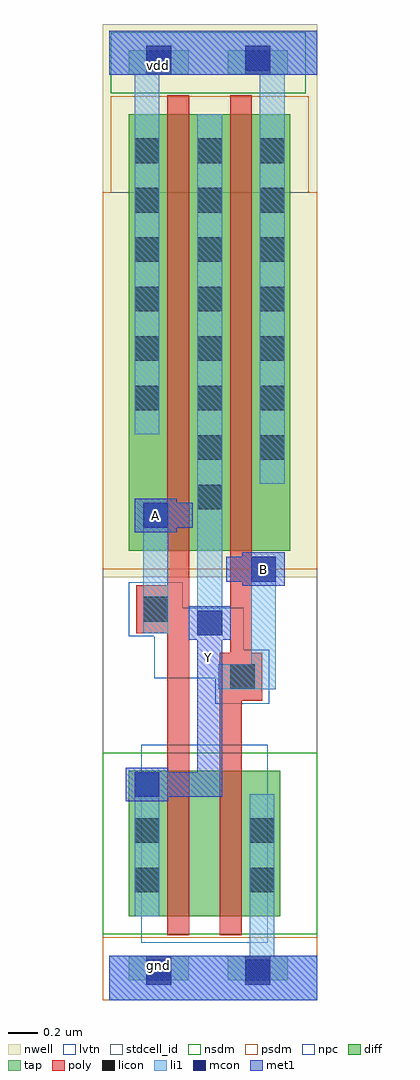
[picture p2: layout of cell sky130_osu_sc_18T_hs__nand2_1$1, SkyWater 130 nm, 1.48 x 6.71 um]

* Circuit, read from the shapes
.subckt sky130_osu_sc_18T_hs__nand2_1$1 A B Y gnd vdd
XM1 n1 A Y gnd sky130_fd_pr__nfet_01v8_lvt w=1 l=0.15
XM2 gnd B n1 gnd sky130_fd_pr__nfet_01v8_lvt w=1 l=0.15
XM3 Y A vdd vdd sky130_fd_pr__pfet_01v8 w=3 l=0.15
XM4 vdd B Y vdd sky130_fd_pr__pfet_01v8 w=3 l=0.15
.ends

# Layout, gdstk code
import gdstk
lib = gdstk.Library(unit=1e-6, precision=1e-09)
def R(c, l, rs):  # rectangles x0, y0, x1, y1
    for r in rs: c.add(gdstk.rectangle(r[:2], r[2:], *l))
nwell = (64, 20)
diff = (65, 20)
tap = (65, 44)
poly = (66, 20)
licon = (66, 44)
li1 = (67, 20)
mcon = (67, 44)
met1 = (68, 20)
stdcell_id = (81, 4)
nsdm = (93, 44)
psdm = (94, 20)
npc = (95, 20)
lvtn = (125, 44)

sky130_osu_sc_18t_hs__na = lib.new_cell('sky130_osu_sc_18T_hs__nand2_1$1')
R(sky130_osu_sc_18t_hs__na, nwell, [(-0.045,2.905,1.43,6.705), (-0.045,2.905,1.43,6.705)])
R(sky130_osu_sc_18t_hs__na, diff, [(0.135,0.575,1.175,1.575), (0.135,0.575,1.175,1.575), (0.135,3.085,1.245,6.085), (0.135,3.085,1.245,6.085)])
R(sky130_osu_sc_18t_hs__na, tap, [(0.135,0.135,0.545,0.305), (0.135,0.135,0.545,0.305), (0.815,0.135,1.225,0.305), (0.815,0.135,1.225,0.305), (0.135,6.355,0.545,6.525), (0.135,6.355,0.545,6.525), (0.815,6.355,1.225,6.525), (0.815,6.355,1.225,6.525)])
R(sky130_osu_sc_18t_hs__na, poly, [(0.4,0.445,0.55,2.52), (0.4,0.445,0.55,2.52), (0.76,0.445,0.91,2.055), (0.76,0.445,0.91,2.055), (0.76,2.055,1.05,2.385), (0.76,2.055,1.05,2.385), (0.83,2.385,0.98,6.215), (0.83,2.385,0.98,6.215), (0.185,2.52,0.55,2.85), (0.185,2.52,0.55,2.85), (0.4,2.85,0.55,6.215), (0.4,2.85,0.55,6.215)])
R(sky130_osu_sc_18t_hs__na, licon, [(0.255,0.135,0.425,0.305), (0.255,0.135,0.425,0.305), (0.935,0.135,1.105,0.305), (0.935,0.135,1.105,0.305), (0.175,0.74,0.345,0.91), (0.175,0.74,0.345,0.91), (0.965,0.74,1.135,0.91), (0.965,0.74,1.135,0.91), (0.175,1.08,0.345,1.25), (0.175,1.08,0.345,1.25), (0.965,1.08,1.135,1.25), (0.965,1.08,1.135,1.25), (0.83,2.135,1,2.305), (0.83,2.135,1,2.305), (0.235,2.6,0.405,2.77), (0.235,2.6,0.405,2.77), (0.605,3.37,0.775,3.54), (0.605,3.37,0.775,3.54), (0.605,3.71,0.775,3.88), (0.605,3.71,0.775,3.88), (1.035,3.71,1.205,3.88), (1.035,3.71,1.205,3.88), (0.175,4.05,0.345,4.22), (0.175,4.05,0.345,4.22), (0.605,4.05,0.775,4.22), (0.605,4.05,0.775,4.22), (1.035,4.05,1.205,4.22), (1.035,4.05,1.205,4.22), (0.175,4.39,0.345,4.56), (0.175,4.39,0.345,4.56), (0.605,4.39,0.775,4.56), (0.605,4.39,0.775,4.56), (1.035,4.39,1.205,4.56), (1.035,4.39,1.205,4.56), (0.175,4.73,0.345,4.9), (0.175,4.73,0.345,4.9), (0.605,4.73,0.775,4.9), (0.605,4.73,0.775,4.9), (1.035,4.73,1.205,4.9), (1.035,4.73,1.205,4.9), (0.175,5.07,0.345,5.24), (0.175,5.07,0.345,5.24), (0.605,5.07,0.775,5.24), (0.605,5.07,0.775,5.24), (1.035,5.07,1.205,5.24), (1.035,5.07,1.205,5.24), (0.175,5.41,0.345,5.58), (0.175,5.41,0.345,5.58), (0.605,5.41,0.775,5.58), (0.605,5.41,0.775,5.58), (1.035,5.41,1.205,5.58), (1.035,5.41,1.205,5.58), (0.175,5.75,0.345,5.92), (0.175,5.75,0.345,5.92), (0.605,5.75,0.775,5.92), (0.605,5.75,0.775,5.92), (1.035,5.75,1.205,5.92), (1.035,5.75,1.205,5.92), (0.255,6.355,0.425,6.525), (0.255,6.355,0.425,6.525), (0.935,6.355,1.105,6.525), (0.935,6.355,1.105,6.525)])
R(sky130_osu_sc_18t_hs__na, li1, [(0,0,1.43,0.305), (0,0,1.43,0.305), (0.965,0.305,1.135,1.415), (0.965,0.305,1.135,1.415), (0.175,0.575,0.345,1.565), (0.175,0.575,0.345,1.565), (0.75,2.135,1.145,2.305), (0.75,2.135,1.145,2.305), (0.975,2.305,1.145,3.045), (0.975,2.305,1.145,3.045), (0.605,2.505,0.775,6.085), (0.605,2.505,0.775,6.085), (0.235,2.52,0.405,3.415), (0.235,2.52,0.405,3.415), (1.035,3.545,1.205,6.355), (1.035,3.545,1.205,6.355), (0.175,3.885,0.345,6.355), (0.175,3.885,0.345,6.355), (0,6.355,1.43,6.66), (0,6.355,1.43,6.66)])
R(sky130_osu_sc_18t_hs__na, mcon, [(0.255,0.105,0.425,0.275), (0.255,0.105,0.425,0.275), (0.935,0.105,1.105,0.275), (0.935,0.105,1.105,0.275), (0.175,1.395,0.345,1.565), (0.175,1.395,0.345,1.565), (0.605,2.505,0.775,2.675), (0.605,2.505,0.775,2.675), (0.975,2.875,1.145,3.045), (0.975,2.875,1.145,3.045), (0.235,3.245,0.405,3.415), (0.235,3.245,0.405,3.415), (0.255,6.385,0.425,6.555), (0.255,6.385,0.425,6.555), (0.935,6.385,1.105,6.555), (0.935,6.385,1.105,6.555)])
R(sky130_osu_sc_18t_hs__na, met1, [(0,0,1.43,0.305), (0,0,1.43,0.305), (0.115,1.365,0.405,1.395), (0.115,1.365,0.405,1.395), (0.115,1.395,0.775,1.565), (0.115,1.395,0.775,1.565), (0.115,1.565,0.405,1.595), (0.115,1.565,0.405,1.595), (0.605,1.565,0.775,2.475), (0.605,1.565,0.775,2.475), (0.545,2.475,0.835,2.705), (0.545,2.475,0.835,2.705), (0.915,2.845,1.205,2.875), (0.915,2.845,1.205,2.875), (0.805,2.875,1.205,3.045), (0.805,2.875,1.205,3.045), (0.915,3.045,1.205,3.075), (0.915,3.045,1.205,3.075), (0.175,3.215,0.465,3.245), (0.175,3.215,0.465,3.245), (0.175,3.245,0.575,3.415), (0.175,3.245,0.575,3.415), (0.175,3.415,0.465,3.445), (0.175,3.415,0.465,3.445), (0,6.355,1.43,6.66), (0,6.355,1.43,6.66)])
R(sky130_osu_sc_18t_hs__na, stdcell_id, [(-0.045,0,1.43,5.55), (-0.045,0,1.43,5.55)])
R(sky130_osu_sc_18t_hs__na, nsdm, [(-0.045,0.45,1.43,1.7), (-0.045,0.45,1.43,1.7), (0.01,6.23,1.35,6.65), (0.01,6.23,1.35,6.65)])
R(sky130_osu_sc_18t_hs__na, psdm, [(-0.045,0,1.43,0.43), (-0.045,0,1.43,0.43), (-0.045,2.96,1.43,5.55), (-0.045,2.96,1.43,5.55), (0.01,5.55,1.37,6.21), (0.01,5.55,1.37,6.21)])
R(sky130_osu_sc_18t_hs__na, npc, [(0.73,2.035,1.1,2.21), (0.73,2.035,1.1,2.21), (0.31,2.21,1.1,2.405), (0.31,2.21,1.1,2.405), (0.31,2.405,0.925,2.5), (0.31,2.405,0.925,2.5), (0.135,2.5,0.925,2.695), (0.135,2.5,0.925,2.695), (0.135,2.695,0.505,2.87), (0.135,2.695,0.505,2.87)])
R(sky130_osu_sc_18t_hs__na, lvtn, [(0.22,0.395,1.09,1.755), (0.22,0.395,1.09,1.755)])
sky130_osu_sc_18t_hs__na.add(gdstk.Label('gnd', (0.34,0.24), layer=68, texttype=16))
sky130_osu_sc_18t_hs__na.add(gdstk.Label('vdd', (0.34,6.42), layer=68, texttype=16))
sky130_osu_sc_18t_hs__na.add(gdstk.Label('gnd', (0.34,0.24), layer=68, texttype=16))
sky130_osu_sc_18t_hs__na.add(gdstk.Label('vdd', (0.34,6.42), layer=68, texttype=16))
sky130_osu_sc_18t_hs__na.add(gdstk.Label('Y', (0.68,2.35), layer=68, texttype=5))
sky130_osu_sc_18t_hs__na.add(gdstk.Label('A', (0.32,3.33), layer=68, texttype=5))
sky130_osu_sc_18t_hs__na.add(gdstk.Label('B', (1.06,2.96), layer=68, texttype=5))
sky130_osu_sc_18t_hs__na.add(gdstk.Label('Y', (0.68,2.35), layer=68, texttype=5))
sky130_osu_sc_18t_hs__na.add(gdstk.Label('A', (0.32,3.33), layer=68, texttype=5))
sky130_osu_sc_18t_hs__na.add(gdstk.Label('B', (1.06,2.96), layer=68, texttype=5))

lib.write_gds('sky130_osu_sc_18T_hs__nand2_1_1.gds')
